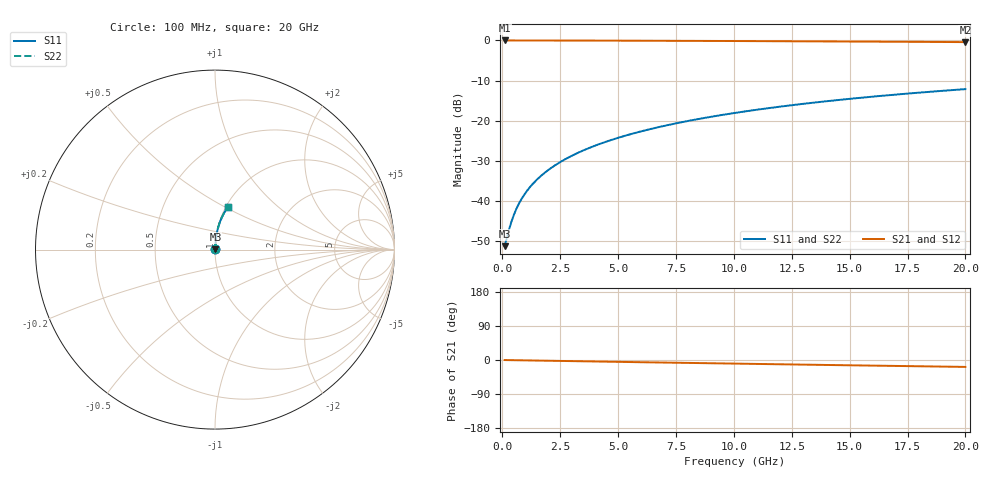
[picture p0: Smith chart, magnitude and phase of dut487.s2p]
! Touchstone file exported from HFSS 2024.1.0
!  File:  C:/UserFiles/LocalFiles/RDL_TSV_Batchsim/temp_RDL_top_487_1779678531.aedt
!  Generated:  11:11:01 AM May 25, 2026
!  Design:  RDL_top
!  Project:  temp_RDL_top_487_1779678531
!  Setup:  Setup1
!  Solution:  Sweep
! Variables:
!  dtsv = 10.80580581um
!  hbump = 3um
!  htsv = 51.81um
!  ldown = 100um
!  lrdl = 171.33um
!  p = 40
!  p1 = 54.86um
!  rhole = 1um
!  t = 450um
!  tdown = 3.915915916um
!  trdl = 2.02um
!  wdown = 15.38538539um
!  wrdl = 14.25um
# GHz S MA R 50.000000
! Terminal data exported
! Port[1] = Box2_T1
! Port[2] = Box2_T2
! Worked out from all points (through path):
!   200 points, 100 MHz to 20 GHz, reference 50 ohm
!   highest |S21| = -0.02 dB at 100 MHz (marker M1); lowest = -0.4 dB at 20 GHz (marker M2)
!   group delay of S21, straight-line fit = 2.53 ps
!   lowest |S11| = -51.2 dB at 100 MHz (marker M3), VSWR 1.01, Z = 50.2 + j0.127 ohm
!   |S11| at or under -10 dB: start of sweep to end of sweep
!   |S22| runs from -51.2 to -12.1 dB; largest |S21 - S12| = 7e-15
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0.1  0.002755 27.2  0.9975 -0.1  0.9975 -0.1  0.002755 27.2
! Gamma 0 0 0 0
! Port Impedance 50 0 50 0
0.3  0.004521 56.4  0.9975 -0.3  0.9975 -0.3  0.004521 56.4
0.4  0.005616 63.1  0.9974 -0.4  0.9974 -0.4  0.005616 63.1
0.5  0.006757 67.5  0.9974 -0.5  0.9974 -0.5  0.006757 67.5
0.6  0.00792 70.6  0.9973 -0.6  0.9973 -0.6  0.00792 70.6
0.7  0.009094 72.9  0.9973 -0.7  0.9973 -0.7  0.009094 72.9
0.9  0.01146 76.0  0.9971 -0.9  0.9971 -0.9  0.01146 76.0
1.2  0.01502 78.8  0.9969 -1.2  0.9969 -1.2  0.01502 78.8
1.4  0.0174 80.1  0.9968 -1.4  0.9968 -1.4  0.0174 80.1
1.7  0.02098 81.4  0.9965 -1.7  0.9965 -1.7  0.02098 81.4
2.2  0.02698 82.8  0.9961 -2.2  0.9961 -2.2  0.02698 82.8
2.8  0.03425 83.8  0.9954 -2.8  0.9954 -2.8  0.03425 83.8
3.5  0.04279 84.3  0.9946 -3.5  0.9946 -3.5  0.04279 84.3
4.2  0.05141 84.6  0.9936 -4.1  0.9936 -4.1  0.05141 84.6
5  0.06135 84.6  0.9923 -4.9  0.9923 -4.9  0.06135 84.6
5.9  0.07261 84.3  0.9906 -5.8  0.9906 -5.8  0.07262 84.3
6.8  0.08396 84.0  0.9888 -6.6  0.9888 -6.6  0.08396 84.0
8.3  0.103 83.1  0.9855 -8.0  0.9855 -8.0  0.103 83.1
10.1  0.1259 81.8  0.9812 -9.6  0.9812 -9.6  0.1259 81.8
13.4  0.1675 79.1  0.9724 -12.6  0.9724 -12.6  0.1675 79.1
16.7  0.2081 76.2  0.9624 -15.4  0.9624 -15.4  0.2081 76.2
20  0.2474 73.3  0.9513 -18.3  0.9513 -18.3  0.2474 73.3
